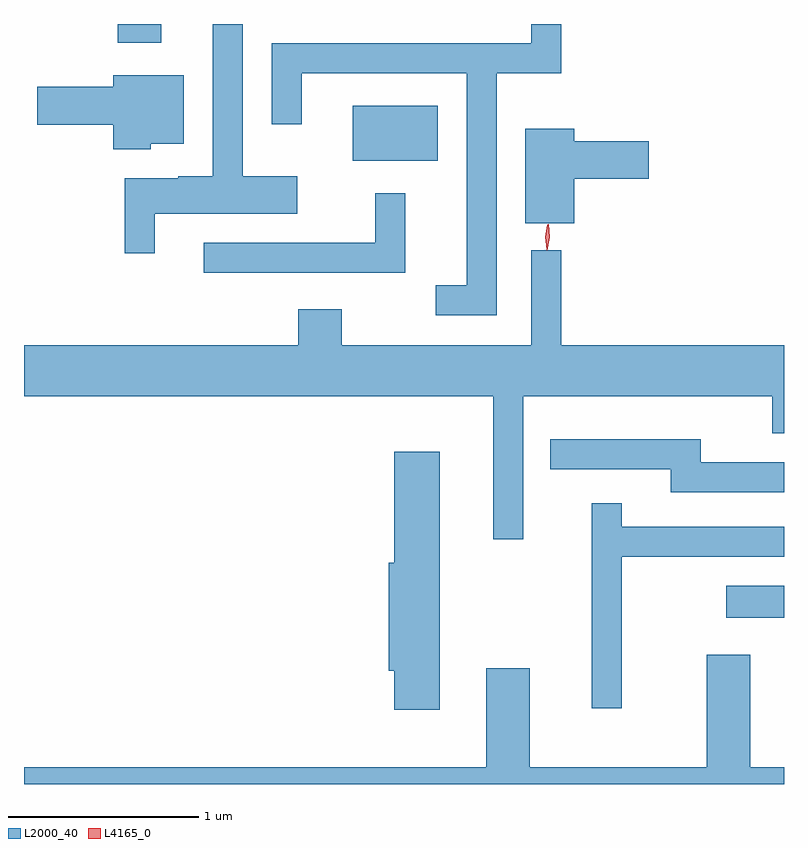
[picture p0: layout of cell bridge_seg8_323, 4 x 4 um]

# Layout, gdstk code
import gdstk
lib = gdstk.Library(unit=1e-6, precision=1e-09)
def R(c, l, rs):  # rectangles x0, y0, x1, y1
    for r in rs: c.add(gdstk.rectangle(r[:2], r[2:], *l))
def P(c, l, *ps):  # polygons
    for p in ps: c.add(gdstk.Polygon(p, *l))
L2000_40 = (2000, 40)
L4165_0 = (4165, 0)

bridge_seg8_323 = lib.new_cell('bridge_seg8_323')
R(bridge_seg8_323, L2000_40, [(871.943,1881.871,872.247,1882.039), (869.976,1884.276,870.424,1884.564), (868.741,1884.896,868.969,1884.995)])
P(bridge_seg8_323, L2000_40, [(870.734,1884.736),(871.074,1884.736),(871.074,1884.995),(870.916,1884.995),(870.916,1884.894),(869.551,1884.894),(869.551,1884.468),(869.709,1884.468),(869.709,1884.736),(870.576,1884.736),(870.576,1883.619),(870.413,1883.619),(870.413,1883.461),(870.734,1883.461)],
  [(868.934,1883.996),(869.684,1883.996),(869.684,1884.194),(869.399,1884.194),(869.399,1884.995),(869.241,1884.995),(869.241,1884.194),(869.06,1884.194),(869.06,1884.184),(868.776,1884.184),(868.776,1883.788),(868.934,1883.788)],
  [(868.914,1884.366),(869.089,1884.366),(869.089,1884.724),(868.716,1884.724),(868.716,1884.664),(868.316,1884.664),(868.316,1884.466),(868.716,1884.466),(868.716,1884.336),(868.914,1884.336)],
  [(871.144,1884.181),(871.534,1884.181),(871.534,1884.379),(871.144,1884.379),(871.144,1884.444),(870.886,1884.444),(870.886,1883.946),(871.144,1883.946)],
  [(870.254,1884.103),(870.096,1884.103),(870.096,1883.844),(869.193,1883.844),(869.193,1883.686),(870.254,1883.686)],
  [(870.874,1883.036),(872.186,1883.036),(872.186,1882.841),(872.247,1882.841),(872.247,1883.304),(871.074,1883.304),(871.074,1883.803),(870.916,1883.803),(870.916,1883.304),(869.919,1883.304),(869.919,1883.494),(869.691,1883.494),(869.691,1883.304),(868.247,1883.304),(868.247,1883.036),(870.716,1883.036),(870.716,1882.283),(870.874,1882.283)],
  [(872.247,1882.689),(871.809,1882.689),(871.809,1882.809),(871.018,1882.809),(871.018,1882.651),(871.651,1882.651),(871.651,1882.531),(872.247,1882.531)],
  [(870.434,1882.744),(870.196,1882.744),(870.196,1882.159),(870.166,1882.159),(870.166,1881.591),(870.196,1881.591),(870.196,1881.386),(870.434,1881.386)],
  [(871.394,1882.191),(872.247,1882.191),(872.247,1882.349),(871.394,1882.349),(871.394,1882.473),(871.236,1882.473),(871.236,1881.393),(871.394,1881.393)],
  [(871.841,1881.084),(870.909,1881.084),(870.909,1881.604),(870.681,1881.604),(870.681,1881.084),(868.247,1881.084),(868.247,1880.995),(872.247,1880.995),(872.247,1881.084),(872.069,1881.084),(872.069,1881.674),(871.841,1881.674)])
P(bridge_seg8_323, L4165_0, [(870.999,1883.808),(870.999,1883.808),(870.991,1883.874),(871.002,1883.939),(871.002,1883.939),(871.003,1883.939),(871.011,1883.874),(871,1883.808)],
  [(870.999,1883.805),(870.999,1883.805),(870.993,1883.874),(871.007,1883.942),(871.007,1883.942),(871.008,1883.942),(871.013,1883.873),(871,1883.805)])

lib.write_gds('bridge_seg8_323.gds')
